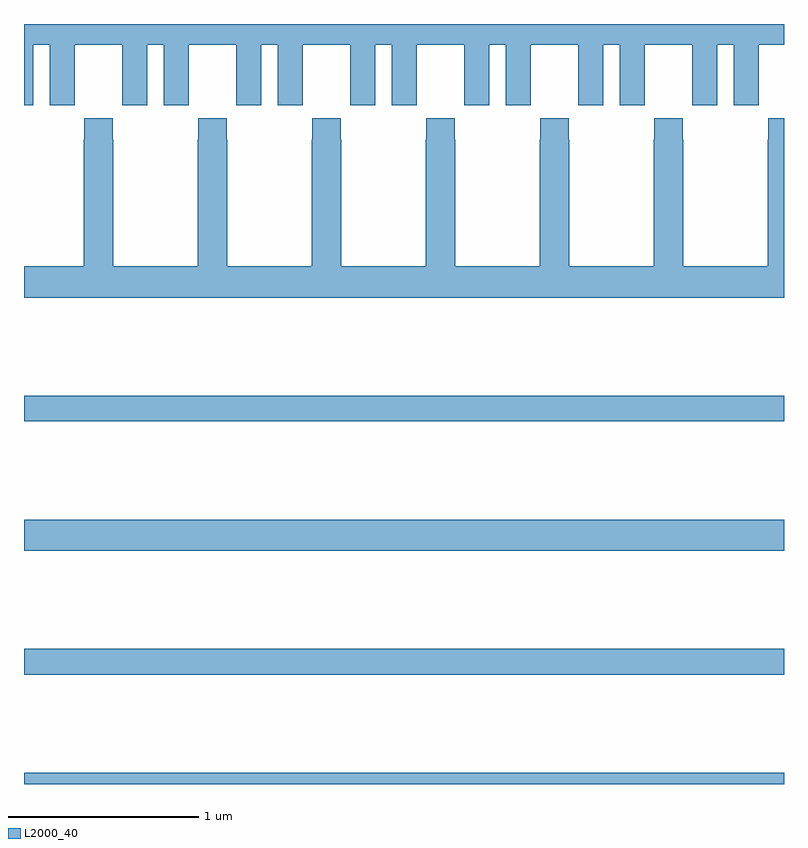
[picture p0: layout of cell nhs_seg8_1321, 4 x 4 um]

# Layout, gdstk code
import gdstk
lib = gdstk.Library(unit=1e-6, precision=1e-09)
def R(c, l, rs):  # rectangles x0, y0, x1, y1
    for r in rs: c.add(gdstk.rectangle(r[:2], r[2:], *l))
def P(c, l, *ps):  # polygons
    for p in ps: c.add(gdstk.Polygon(p, *l))
L2000_40 = (2000, 40)

nhs_seg8_1321 = lib.new_cell('nhs_seg8_1321')
R(nhs_seg8_1321, L2000_40, [(193,1153.9,197,1153.96), (193,1154.476,197,1154.612), (193,1155.128,197,1155.292), (193,1155.808,197,1155.944)])
P(nhs_seg8_1321, L2000_40, [(195.536,1157.472),(195.666,1157.472),(195.666,1157.584),(195.667,1157.584),(195.667,1157.792),(195.917,1157.792),(195.917,1157.584),(195.918,1157.584),(195.918,1157.472),(196.048,1157.472),(196.048,1157.792),(196.136,1157.792),(196.136,1157.472),(196.266,1157.472),(196.266,1157.584),(196.267,1157.584),(196.267,1157.792),(196.517,1157.792),(196.517,1157.584),(196.518,1157.584),(196.518,1157.472),(196.648,1157.472),(196.648,1157.792),(196.736,1157.792),(196.736,1157.472),(196.866,1157.472),(196.866,1157.584),(196.867,1157.584),(196.867,1157.792),(197,1157.792),(197,1157.9),(193,1157.9),(193,1157.472),(193.048,1157.472),(193.048,1157.792),(193.136,1157.792),(193.136,1157.472),(193.266,1157.472),(193.266,1157.584),(193.267,1157.584),(193.267,1157.792),(193.517,1157.792),(193.517,1157.584),(193.518,1157.584),(193.518,1157.472),(193.648,1157.472),(193.648,1157.792),(193.736,1157.792),(193.736,1157.472),(193.866,1157.472),(193.866,1157.584),(193.867,1157.584),(193.867,1157.792),(194.117,1157.792),(194.117,1157.584),(194.118,1157.584),(194.118,1157.472),(194.248,1157.472),(194.248,1157.792),(194.336,1157.792),(194.336,1157.472),(194.466,1157.472),(194.466,1157.584),(194.467,1157.584),(194.467,1157.792),(194.717,1157.792),(194.717,1157.584),(194.718,1157.584),(194.718,1157.472),(194.848,1157.472),(194.848,1157.792),(194.936,1157.792),(194.936,1157.472),(195.066,1157.472),(195.066,1157.584),(195.067,1157.584),(195.067,1157.792),(195.317,1157.792),(195.317,1157.584),(195.318,1157.584),(195.318,1157.472),(195.448,1157.472),(195.448,1157.792),(195.536,1157.792)],
  [(197,1157.404),(196.917,1157.404),(196.917,1157.291),(196.915,1157.291),(196.915,1156.624),(196.47,1156.624),(196.47,1157.291),(196.467,1157.291),(196.467,1157.404),(196.317,1157.404),(196.317,1157.291),(196.315,1157.291),(196.315,1156.624),(195.87,1156.624),(195.87,1157.291),(195.867,1157.291),(195.867,1157.404),(195.717,1157.404),(195.717,1157.291),(195.715,1157.291),(195.715,1156.624),(195.27,1156.624),(195.27,1157.291),(195.267,1157.291),(195.267,1157.404),(195.117,1157.404),(195.117,1157.291),(195.115,1157.291),(195.115,1156.624),(194.67,1156.624),(194.67,1157.291),(194.667,1157.291),(194.667,1157.404),(194.517,1157.404),(194.517,1157.291),(194.515,1157.291),(194.515,1156.624),(194.07,1156.624),(194.07,1157.291),(194.067,1157.291),(194.067,1157.404),(193.917,1157.404),(193.917,1157.291),(193.915,1157.291),(193.915,1156.624),(193.47,1156.624),(193.47,1157.291),(193.467,1157.291),(193.467,1157.404),(193.317,1157.404),(193.317,1157.291),(193.315,1157.291),(193.315,1156.624),(193,1156.624),(193,1156.46),(197,1156.46)])

lib.write_gds('nhs_seg8_1321.gds')
